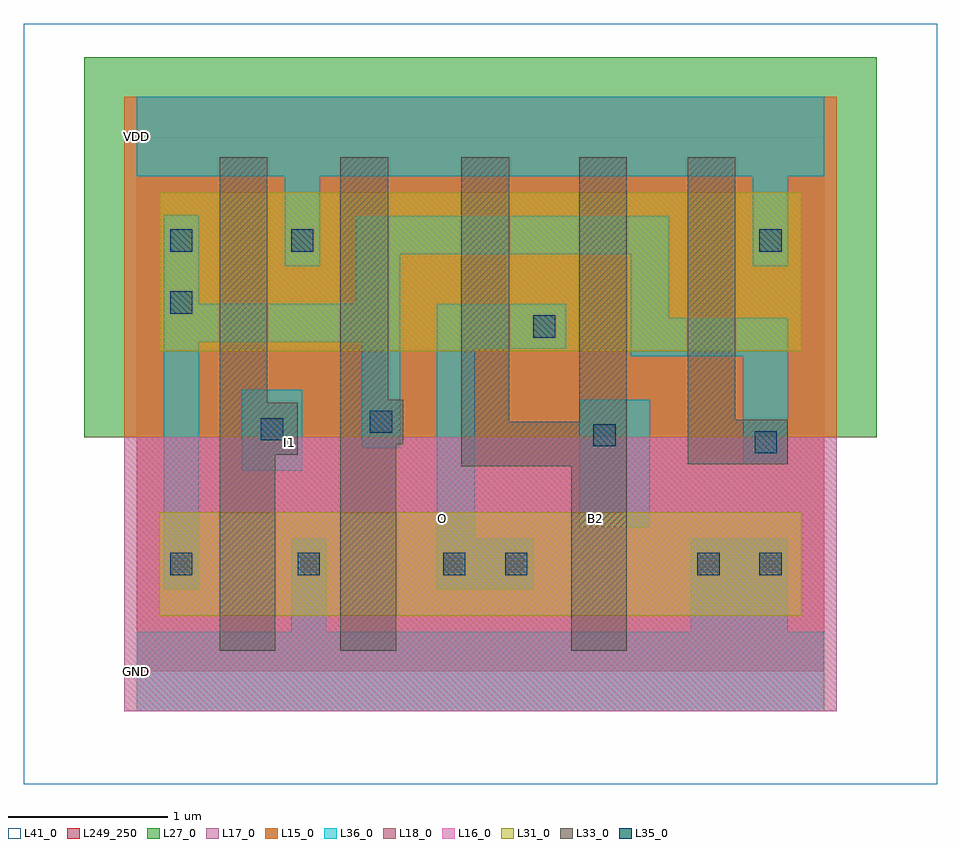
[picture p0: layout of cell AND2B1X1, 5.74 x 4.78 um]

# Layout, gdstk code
import gdstk
lib = gdstk.Library(unit=1e-6, precision=1e-09)
def R(c, l, rs):  # rectangles x0, y0, x1, y1
    for r in rs: c.add(gdstk.rectangle(r[:2], r[2:], *l))
def P(c, l, *ps):  # polygons
    for p in ps: c.add(gdstk.Polygon(p, *l))
L15_0 = (15, 0)
L16_0 = (16, 0)
L17_0 = (17, 0)
L18_0 = (18, 0)
L27_0 = (27, 0)
L31_0 = (31, 0)
L33_0 = (33, 0)
L35_0 = (35, 0)
L36_0 = (36, 0)
L41_0 = (41, 0)
L249_250 = (249, 250)

and2b1x1 = lib.new_cell('AND2B1X1')
R(and2b1x1, L15_0, [(-0.08,1.47,4.4,3.61)])
R(and2b1x1, L16_0, [(-0.08,-0.25,4.4,1.47)])
R(and2b1x1, L17_0, [(-0.08,1.47,4.4,3.61)])
R(and2b1x1, L18_0, [(-0.08,-0.25,4.4,1.47)])
R(and2b1x1, L27_0, [(-0.33,1.47,4.65,3.86)])
R(and2b1x1, L31_0, [(0.14,0.35,4.18,1), (0.14,2.01,4.18,3.01)])
P(and2b1x1, L33_0, [(0.52,0.13),(0.52,3.23),(0.82,3.23),(0.82,1.689),(1.013,1.689),(1.013,1.362),(0.87,1.362),(0.87,0.13)],
  [(1.28,0.13),(1.28,3.23),(1.58,3.23),(1.58,1.708),(1.676,1.708),(1.676,1.428),(1.63,1.428),(1.63,0.13)],
  [(2.73,0.13),(2.73,1.289),(2.04,1.289),(2.04,3.23),(2.34,3.23),(2.34,1.569),(2.78,1.569),(2.78,3.23),(3.08,3.23),(3.08,0.13)],
  [(3.462,1.3),(3.462,3.23),(3.762,3.23),(3.762,1.58),(4.092,1.58),(4.092,1.3)])
R(and2b1x1, L35_0, [(0.21,0.605,0.35,0.745), (1.01,0.605,1.15,0.745), (1.925,0.605,2.065,0.745), (2.315,0.605,2.455,0.745), (3.522,0.605,3.662,0.745), (3.912,0.605,4.052,0.745), (3.882,1.37,4.022,1.51), (2.87,1.413,3.01,1.553), (0.78,1.451,0.92,1.591), (1.465,1.498,1.605,1.638), (2.49,2.097,2.63,2.237), (0.21,2.247,0.35,2.387), (0.21,2.637,0.35,2.777), (0.97,2.637,1.11,2.777), (3.912,2.637,4.052,2.777)])
R(and2b1x1, L36_0, [(2.78,0.906,3.225,1.707), (0.66,1.259,1.04,1.77)])
P(and2b1x1, L36_0, [(0,-0.25),(0,0.25),(0.97,0.25),(0.97,0.835),(1.19,0.835),(1.19,0.25),(3.482,0.25),(3.482,0.835),(4.092,0.835),(4.092,0.25),(4.32,0.25),(4.32,-0.25)],
  [(0.17,0.515),(0.17,2.867),(0.39,2.867),(0.39,2.311),(1.375,2.311),(1.375,2.86),(3.345,2.86),(3.345,2.22),(4.092,2.22),(4.092,1.3),(3.812,1.3),(3.812,1.98),(3.105,1.98),(3.105,2.62),(1.655,2.62),(1.655,1.403),(1.415,1.403),(1.415,2.071),(0.39,2.071),(0.39,0.515)],
  [(1.885,0.515),(1.885,2.307),(2.7,2.307),(2.7,2.027),(2.125,2.027),(2.125,0.835),(2.495,0.835),(2.495,0.515)],
  [(0.93,2.547),(0.93,3.11),(0,3.11),(0,3.61),(4.32,3.61),(4.32,3.11),(4.092,3.11),(4.092,2.547),(3.872,2.547),(3.872,3.11),(1.15,3.11),(1.15,2.547)])
R(and2b1x1, L41_0, [(-0.71,-0.708,5.03,4.068)])
R(and2b1x1, L249_250, [(0,0,4.32,3.36)])
and2b1x1.add(gdstk.Label('GND', (0,0), layer=211, texttype=0))
and2b1x1.add(gdstk.Label('VDD', (0,3.36), layer=211, texttype=0))
and2b1x1.add(gdstk.Label('O', (1.92,0.96), layer=211, texttype=0))
and2b1x1.add(gdstk.Label('I1', (0.96,1.44), layer=211, texttype=0))
and2b1x1.add(gdstk.Label('B2', (2.88,0.96), layer=211, texttype=0))

lib.write_gds('AND2B1X1.gds')
